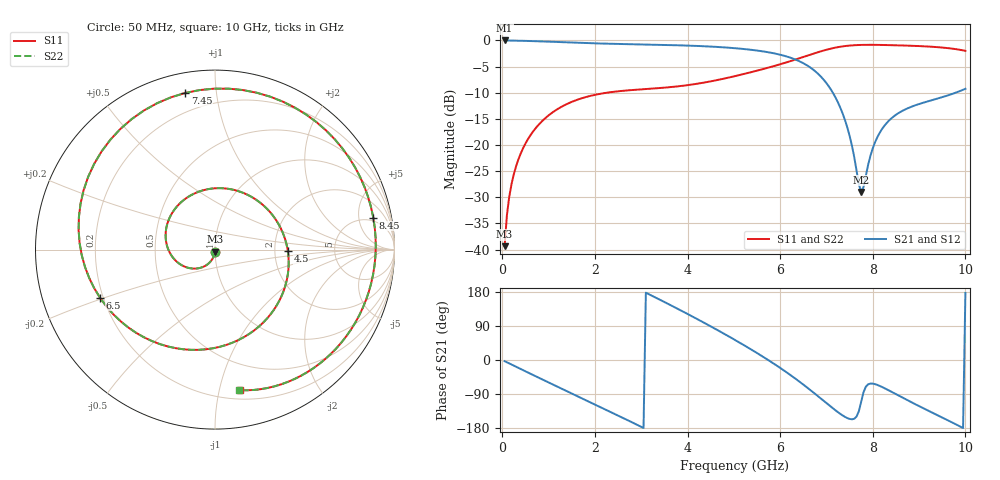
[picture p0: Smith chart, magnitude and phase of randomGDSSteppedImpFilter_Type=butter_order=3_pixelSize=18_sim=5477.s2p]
! freq	dB(S11)	phase(S11)	dB(S12)	phase(S12)
!  dB(S21)	phase(S21)	dB(S22)	phase(S22)
!S-par simulation data
#  GHz  S  DB  R 50
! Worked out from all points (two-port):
!   200 points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, 50 MHz to 10 GHz, reference 50 ohm
!   highest |S21| = -0.01 dB at 50 MHz (marker M1); lowest = -29.0 dB at 7.75 GHz (marker M2)
!   |S21| within 3 dB of the highest: start of sweep to 6.116 GHz
!   lowest |S11| = -39.3 dB at 50 MHz (marker M3), VSWR 1.02, Z = 50 - j1.08 ohm
!   |S11| at or under -10 dB: start of sweep to 2.257 GHz
!   |S22| runs from -39.3 to -0.8 dB; largest |S21 - S12| = 0
!   S11 on the Smith chart (normalised r, x): 50 MHz: 1.00, -0.02; 4.5 GHz: 2.37, -0.05; 6.5 GHz: 0.19, -0.19; 7.45 GHz: 0.10, +0.82; 8.45 GHz: 4.15, +7.78; 10 GHz: 0.27, -1.15
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0.05  -39.34 -92.0  -0.01 -3.0  -0.01 -3.0  -39.34 -92.0
0.2  -27.44 -102.0  -0.03 -12.0  -0.03 -12.0  -27.44 -102.0
0.5  -19.72 -120.3  -0.09 -29.8  -0.09 -29.8  -19.72 -120.3
1.15  -13.37 -158.8  -0.29 -68.1  -0.29 -68.1  -13.37 -158.8
1.75  -10.97 166.3  -0.49 -102.9  -0.49 -102.9  -10.97 166.3
2.65  -9.60 113.9  -0.70 -155.4  -0.70 -155.4  -9.60 113.9
3.4  -9.11 68.8  -0.84 159.3  -0.84 159.3  -9.11 68.7
4  -8.55 31.2  -0.99 121.6  -0.99 121.6  -8.55 31.1
4.5  -7.83 -1.3  -1.18 88.8  -1.18 88.8  -7.83 -1.4
5.05  -6.78 -38.9  -1.51 51.1  -1.51 51.1  -6.78 -39.0
5.75  -5.19 -91.2  -2.27 -0.7  -2.27 -0.7  -5.19 -91.2
6.15  -4.16 -124.7  -3.09 -33.4  -3.09 -33.4  -4.16 -124.8
6.5  -3.16 -157.4  -4.36 -64.8  -4.36 -64.8  -3.16 -157.4
6.7  -2.58 -177.6  -5.49 -84.0  -5.49 -84.0  -2.58 -177.7
7.05  -1.67 144.7  -8.79 -118.8  -8.79 -118.8  -1.67 144.6
7.45  -1.03 100.8  -16.64 -153.3  -16.64 -153.3  -1.03 100.7
7.75  -0.86 70.2  -29.00 -110.2  -29.00 -110.2  -0.86 70.1
8.05  -0.85 42.8  -19.46 -63.7  -19.46 -63.7  -0.85 42.8
8.35  -0.90 18.8  -15.33 -80.4  -15.33 -80.4  -0.90 18.7
8.45  -0.92 11.5  -14.55 -86.9  -14.55 -86.9  -0.92 11.4
9.25  -1.19 -39.0  -11.49 -136.8  -11.49 -136.8  -1.19 -39.1
10  -1.99 -80.0  -9.25 177.0  -9.25 177.0  -1.99 -80.1
